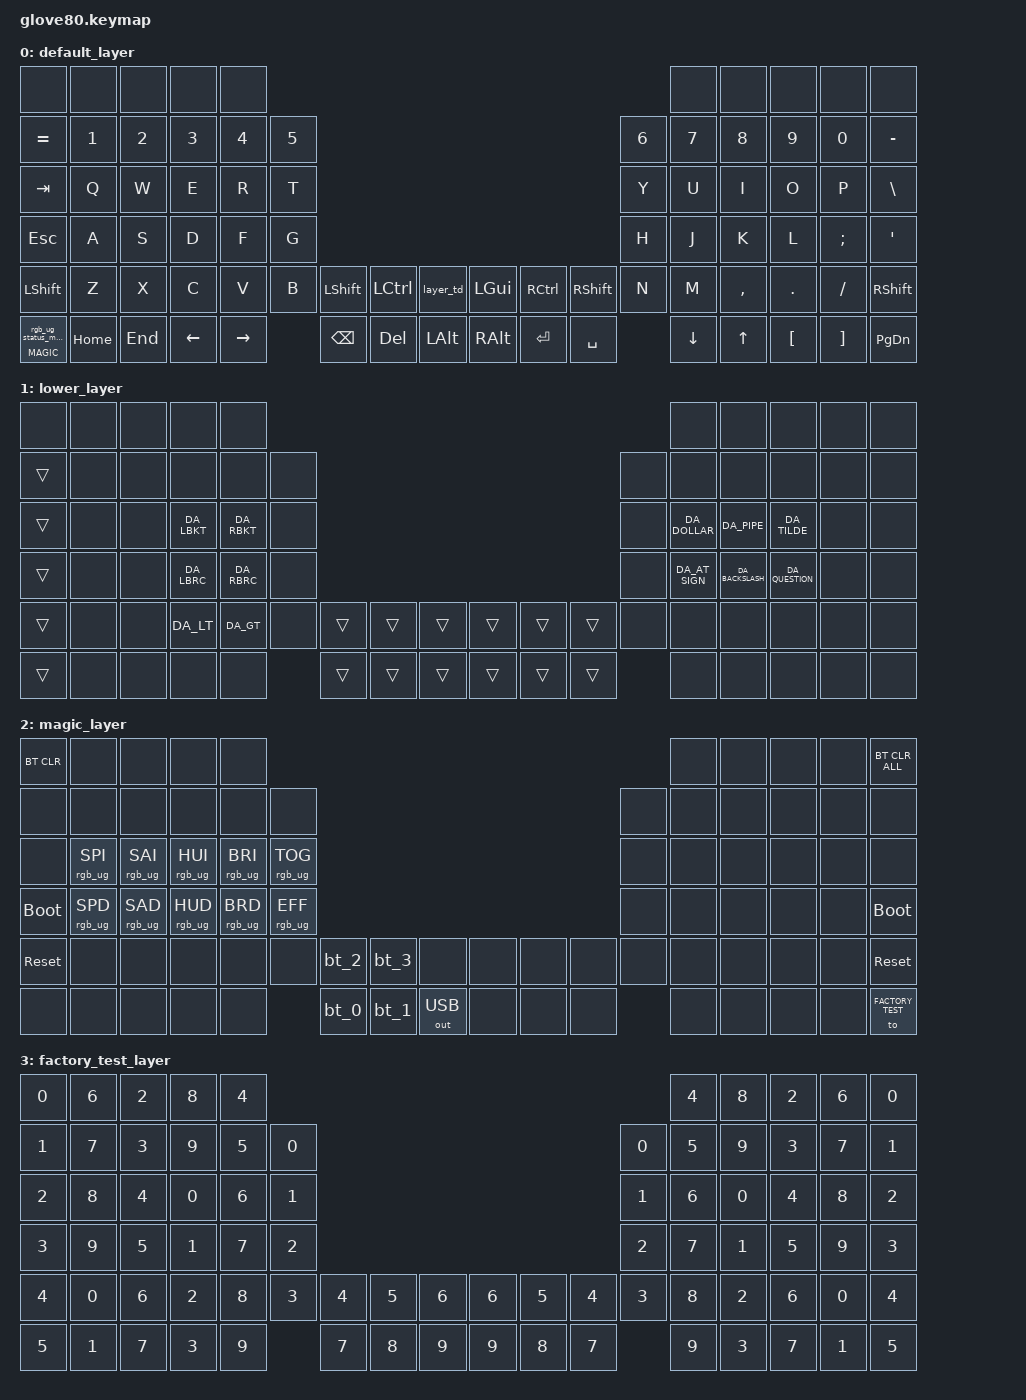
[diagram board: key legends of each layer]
/*
 * Copyright (c) 2020 The ZMK Contributors
 *
 * SPDX-License-Identifier: MIT
 */

#include <behaviors.dtsi>
#include <dt-bindings/zmk/keys.h>
#include <dt-bindings/zmk/bt.h>
#include <dt-bindings/zmk/ext_power.h>
#include <dt-bindings/zmk/outputs.h>
#include <dt-bindings/zmk/rgb.h>
#include <locale/keys_da.h>

#define HYPER LC(LS(LG(LALT)))

// layers
#define DEFAULT 0
#define LOWER 1
#define MAGIC 2
#define FACTORY_TEST 3

/ {
    behaviors {
        // For the "layer" key, it'd nice to be able to use it as either a shift or a toggle.
        // Configure it as a tap dance, so the first tap (or hold) is a &mo and the second tap is a &to
        layer_td: tap_dance_0 {
            compatible = "zmk,behavior-tap-dance";
            label = "LAYER_TAP_DANCE";
            #binding-cells = <0>;
            tapping-term-ms = <200>;
            bindings = <&mo LOWER>, <&to LOWER>;
        };

        magic: magic_hold_tap {
            compatible = "zmk,behavior-hold-tap";
            label = "MAGIC_HOLD_TAP";
            #binding-cells = <2>;
            flavor = "tap-preferred";
            tapping-term-ms = <200>;
            bindings = <&mo>, <&rgb_ug_status_macro>;
        };
    };

    macros {
        rgb_ug_status_macro: rgb_ug_status_macro_0 {
            label = "RGB_UG_STATUS";
            compatible = "zmk,behavior-macro";
            #binding-cells = <0>;
            bindings
                = <&rgb_ug RGB_STATUS>;
        };

        bt_0: bt_profile_macro_0 {
            label = "BT_0";
            compatible = "zmk,behavior-macro";
            #binding-cells = <0>;
            bindings
                = <&out OUT_BLE>,
                  <&bt BT_SEL 0>;
        };

        bt_1: bt_profile_macro_1 {
            label = "BT_1";
            compatible = "zmk,behavior-macro";
            #binding-cells = <0>;
            bindings
                = <&out OUT_BLE>,
                  <&bt BT_SEL 1>;
        };

        bt_2: bt_profile_macro_2 {
            label = "BT_2";
            compatible = "zmk,behavior-macro";
            #binding-cells = <0>;
            bindings
                = <&out OUT_BLE>,
                  <&bt BT_SEL 2>;
        };

        bt_3: bt_profile_macro_3 {
            label = "BT_3";
            compatible = "zmk,behavior-macro";
            #binding-cells = <0>;
            bindings
                = <&out OUT_BLE>,
                  <&bt BT_SEL 3>;
        };
    };

    keymap {
        compatible = "zmk,keymap";

        default_layer {
            // ---------------------------------------------------------------------------------------------------------------------------------
            // |  F1   |  F2 |  F3 |  F4  |  F5  |                                                               |  F6   |  F7   |  F8  |   F9  |  F10 |
            // |  =    |  1  |  2  |  3   |  4   |  5   |                                                 |  6   |   7   |   8   |  9   |   0   |   -  |
            // |  TAB  |  Q  |  W  |  E   |  R   |  T   |                                                 |  Y   |   U   |   I   |  O   |   P   |   \  |
            // |  ESC  |  A  |  S  |  D   |  F   |  G   |                                                 |  H   |   J   |   K   |  L   |   ;   |   '  |
            // |   `   |  Z  |  X  |  C   |  V   |  B   | LSHFT | LCTRL | LOWER | | LGUI  | RCTRL | RSHFT |  N   |   M   |   ,   |  .   |   /   | PGUP |
            // | MAGIC | HOME| END | LEFT | RIGHT|      | BSPC  | DEL   | LALT  | | RALT  | RET   | SPACE |      | DOWN  | UP   |  [   |   ]   | PGDN |

            bindings = <
            &none          &none    &none       &none       &none                                                                                          &none    &none       &none       &none       &none
            &kp EQUAL      &kp N1   &kp N2      &kp N3      &kp N4      &kp N5                                                                     &kp N6  &kp N7   &kp N8      &kp N9      &kp N0      &kp MINUS
            &kp TAB        &kp Q    &kp W       &kp E       &kp R       &kp T                                                                      &kp Y   &kp U    &kp I       &kp O       &kp P       &kp BSLH
            &kp ESC        &kp A    &kp S       &kp D       &kp F       &kp G                                                                      &kp H   &kp J    &kp K       &kp L       &kp SEMI    &kp SQT
            &kp LSHFT      &kp Z    &kp X       &kp C       &kp V       &kp B   &kp LSHFT   &kp LCTRL   &layer_td  &kp LGUI  &kp RCTRL &kp RSHFT   &kp N   &kp M    &kp COMMA   &kp DOT     &kp FSLH    &kp RSHFT
            &magic MAGIC 0 &kp HOME &kp END     &kp LEFT    &kp RIGHT           &kp BSPC    &kp DEL     &kp LALT   &kp RALT  &kp RET   &kp SPACE           &kp DOWN &kp UP      &kp LBKT    &kp RBKT    &kp PG_DN
            >;
        };

        lower_layer {
            bindings = <
            &none         &none         &none       &none           &none                                                                                                              &none          &none            &none           &none           &none
            &trans        &none         &none       &none           &none           &none                                                                                 &none        &none          &none            &none           &none           &none 
            &trans        &none         &none       &kp DA_LBKT     &kp DA_RBKT     &none                                                                                 &none        &kp DA_DOLLAR  &kp DA_PIPE      &kp DA_TILDE    &none           &none
            &trans        &none         &none       &kp DA_LBRC     &kp DA_RBRC     &none                                                                                 &none        &kp DA_AT_SIGN &kp DA_BACKSLASH &kp DA_QUESTION &none           &none
            &trans        &none         &none       &kp DA_LT       &kp DA_GT       &none           &trans      &trans      &trans      &trans      &trans      &trans    &none        &none          &none            &none           &none           &none
            &trans        &none         &none       &none           &none                           &trans      &trans      &trans      &trans      &trans      &trans                 &none          &none            &none           &none           &none
            >;
        };

        magic_layer {
            bindings = <
            &bt BT_CLR        &none               &none           &none           &none                                                                                                           &none      &none      &none      &none      &bt BT_CLR_ALL
            &none             &none               &none           &none           &none           &none                                                                                &none      &none      &none      &none      &none      &none
            &none             &rgb_ug RGB_SPI     &rgb_ug RGB_SAI &rgb_ug RGB_HUI &rgb_ug RGB_BRI &rgb_ug RGB_TOG                                                                      &none      &none      &none      &none      &none      &none
            &bootloader       &rgb_ug RGB_SPD     &rgb_ug RGB_SAD &rgb_ug RGB_HUD &rgb_ug RGB_BRD &rgb_ug RGB_EFF                                                                      &none      &none      &none      &none      &none      &bootloader
            &sys_reset        &none               &none           &none           &none           &none           &bt_2     &bt_3     &none            &none     &none     &none       &none      &none      &none      &none      &none      &sys_reset
            &none             &none               &none           &none           &none                           &bt_0     &bt_1     &out OUT_USB     &none     &none     &none                  &none      &none      &none      &none      &to FACTORY_TEST
            >;
        };

        factory_test_layer {
            bindings = <
            &kp N0   &kp N6   &kp N2   &kp N8   &kp N4                                                                              &kp N4   &kp N8   &kp N2   &kp N6   &kp N0
            &kp N1   &kp N7   &kp N3   &kp N9   &kp N5   &kp N0                                                            &kp N0   &kp N5   &kp N9   &kp N3   &kp N7   &kp N1
            &kp N2   &kp N8   &kp N4   &kp N0   &kp N6   &kp N1                                                            &kp N1   &kp N6   &kp N0   &kp N4   &kp N8   &kp N2
            &kp N3   &kp N9   &kp N5   &kp N1   &kp N7   &kp N2                                                            &kp N2   &kp N7   &kp N1   &kp N5   &kp N9   &kp N3
            &kp N4   &kp N0   &kp N6   &kp N2   &kp N8   &kp N3   &kp N4   &kp N5   &kp N6      &kp N6   &kp N5   &kp N4   &kp N3   &kp N8   &kp N2   &kp N6   &kp N0   &kp N4
            &kp N5   &kp N1   &kp N7   &kp N3   &kp N9            &kp N7   &kp N8   &kp N9      &kp N9   &kp N8   &kp N7            &kp N9   &kp N3   &kp N7   &kp N1   &kp N5
            >;
        };
    };
};
